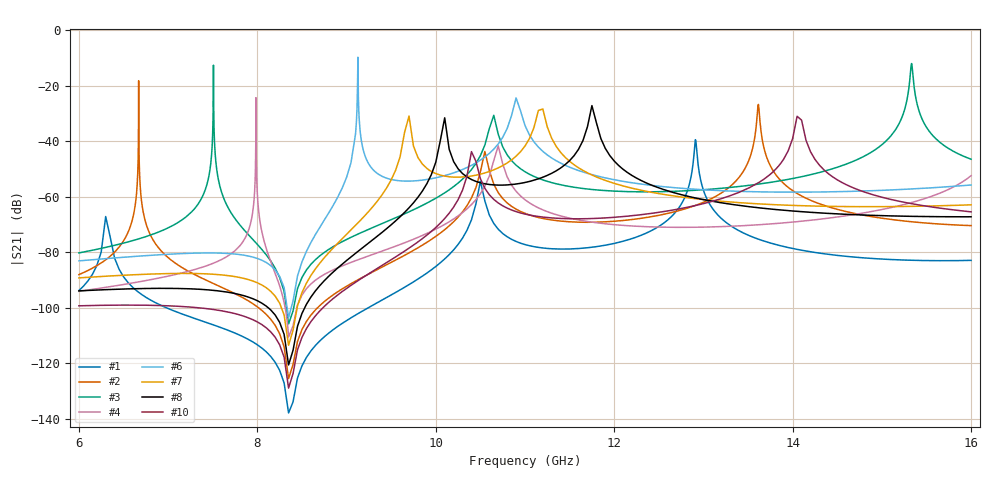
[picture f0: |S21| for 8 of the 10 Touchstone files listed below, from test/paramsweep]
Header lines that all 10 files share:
! Sonnet Data File
! From: emgraph Version : 16.54
! From Project: BusResonator_17
! Data is De-embedded
! Data File Written: 08/31/2017 18:33:07
!< HDATE 08/31/2017 16:58:22
!< MDATE 08/31/2017 17:03:00
!< PARAMS
!< END PARAMS
# GHZ S MA R 50.00000
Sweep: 6 GHz to 16 GHz
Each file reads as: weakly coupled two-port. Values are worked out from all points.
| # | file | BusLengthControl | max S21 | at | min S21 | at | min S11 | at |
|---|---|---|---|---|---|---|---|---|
| 1 | BusResonator_17_param01.s2p | 100.0 | -39.44 dB | 12.91 GHz | -138.0 dB | 8.35 GHz | 0.0 dB | 12.91 GHz |
| 2 | BusResonator_17_param02.s2p | 600.0 | -18.16 dB | 6.67 GHz | -125.6 dB | 8.35 GHz | -0.1 dB | 6.67 GHz |
| 3 | BusResonator_17_param04.s2p | 1600.0 | -11.99 dB | 15.33 GHz | -105.9 dB | 8.35 GHz | -0.3 dB | 7.508 GHz |
| 4 | BusResonator_17_param05.s2p | 2100.0 | -24.30 dB | 7.984 GHz | -110.6 dB | 8.35 GHz | 0.0 dB | 7.984 GHz |
| 5 | BusResonator_17_param06.s2p | 2600.0 | -10.05 dB | 8.54 GHz | -93.0 dB | 8.35 GHz | -1.5 dB | 8.54 GHz |
| 6 | BusResonator_17_param07.s2p | 3100.0 | -9.72 dB | 9.127 GHz | -103.5 dB | 8.35 GHz | -0.5 dB | 9.127 GHz |
| 7 | BusResonator_17_param08.s2p | 3600.0 | -28.37 dB | 11.2 GHz | -113.5 dB | 8.35 GHz | 0.0 dB | 11.2 GHz |
| 8 | BusResonator_17_param09.s2p | 4100.0 | -27.16 dB | 11.75 GHz | -120.6 dB | 8.35 GHz | 0.0 dB | 11.75 GHz |
| 9 | BusResonator_17_param10.s2p | 4600.0 | -25.17 dB | 12.75 GHz | -122.0 dB | 8.35 GHz | 0.0 dB | 12.75 GHz |
| 10 | BusResonator_17_param11.s2p | 5100.0 | -31.00 dB | 14.05 GHz | -129.0 dB | 8.35 GHz | 0.0 dB | 14.05 GHz |
